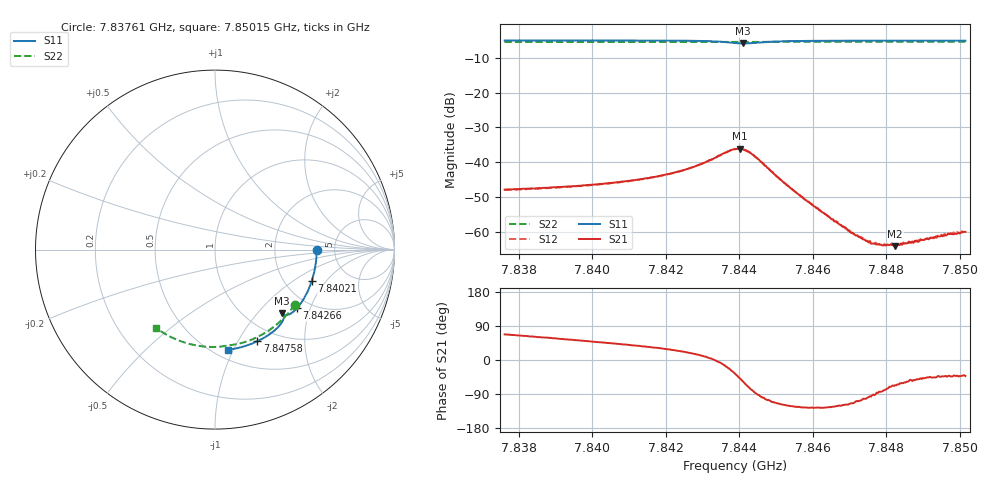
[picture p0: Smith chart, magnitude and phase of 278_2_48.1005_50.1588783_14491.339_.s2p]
#  HZ  S  RI  R  50.00
! Rohde & Schwarz Vector Network Analyzer
! Rohde-Schwarz,ZNB20-2Port,1311601062101988,3.16
! Created: UTC 12/23/2023, 4:02:28 AM
! freq[Hz]  re:S11  im:S11  re:S21  im:S21  re:S12  im:S12  re:S22  im:S22
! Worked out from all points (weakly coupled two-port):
!   401 points, 7.83761 GHz to 7.85015 GHz, reference 50 ohm
!   highest |S21| = -36.12 dB at 7.84401 GHz (marker M1); lowest = -64.2 dB at 7.84824 GHz (marker M2)
!   lowest |S11| = -5.8 dB at 7.8441 GHz (marker M3), VSWR 3.11, Z = 71.2 - j68.1 ohm
!   |S11| at or under -10 dB: nowhere
!   |S22| runs from -5.4 to -5.3 dB; largest |S21 - S12| = 0.00035
!   S11 on the Smith chart (normalised r, x): 7.83761 GHz: 3.61, -0.05; 7.84021 GHz: 2.79, -1.44; 7.84266 GHz: 1.71, -1.63; 7.84758 GHz: 0.81, -1.21; 7.85015 GHz: 0.58, -0.95
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7.837611e9  0.5664 -0.00459  0.00152 0.00372  0.00153 0.00364  0.4446 -0.306
7.839711e9  0.5485 -0.1433  0.00287 0.00356  0.00284 0.00356  0.3463 -0.4152
7.840213e9  0.539 -0.1758  0.00329 0.00351  0.00328 0.0035  0.3188 -0.4369
7.841812e9  0.4935 -0.2758  0.00538 0.0033  0.00537 0.00329  0.222 -0.4938
7.842658e9  0.4574 -0.3259  0.0078 0.00264  0.00777 0.00264  0.1664 -0.5152
7.843411e9  0.4098 -0.3624  0.0122 -0.000945  0.012 -0.00081  0.115 -0.5281
7.843881e9  0.3752 -0.3608  0.0124 -0.00902  0.0126 -0.00889  0.0836 -0.5325
7.844007e9  0.3719 -0.3556  0.0105 -0.0116  0.0106 -0.0115  0.0756 -0.5336
7.844101e9  0.3727 -0.3525  0.00831 -0.0128  0.00836 -0.0127  0.0698 -0.5343
7.844257e9  0.3774 -0.3517  0.00429 -0.0134  0.0044 -0.0134  0.0601 -0.536
7.844446e9  0.3836 -0.3593  0.000485 -0.0117  0.000578 -0.0118  0.0478 -0.5381
7.845229e9  0.3677 -0.4128  -0.0024 -0.00438  -0.00239 -0.0044  -0.00723 -0.5427
7.845982e9  0.3295 -0.4523  -0.00141 -0.00196  -0.00148 -0.002  -0.0603 -0.5402
7.847079e9  0.2667 -0.4951  -0.000395 -0.000876  -0.000387 -0.000874  -0.1364 -0.5272
7.847581e9  0.2363 -0.5107  -7.68e-05 -0.000666  -7.77e-05 -0.000696  -0.1703 -0.5174
7.8478e9  0.2228 -0.5169  7.19e-05 -0.000652  5.42e-05 -0.00066  -0.1851 -0.5125
7.848082e9  0.2052 -0.5241  0.000212 -0.000602  0.000175 -0.000601  -0.2033 -0.5056
7.848239e9  0.1953 -0.528  0.000245 -0.000564  0.00028 -0.000599  -0.2136 -0.5014
7.848678e9  0.1676 -0.5374  0.000425 -0.000571  0.000411 -0.000551  -0.2417 -0.489
7.849713e9  0.1005 -0.5536  0.000692 -0.000608  0.000679 -0.000621  -0.3047 -0.453
7.84987e9  0.0902 -0.5553  0.000697 -0.000623  0.000748 -0.000653  -0.3136 -0.4468
7.850152e9  0.0716 -0.5579  0.000731 -0.000667  0.000749 -0.000653  -0.3299 -0.4351
